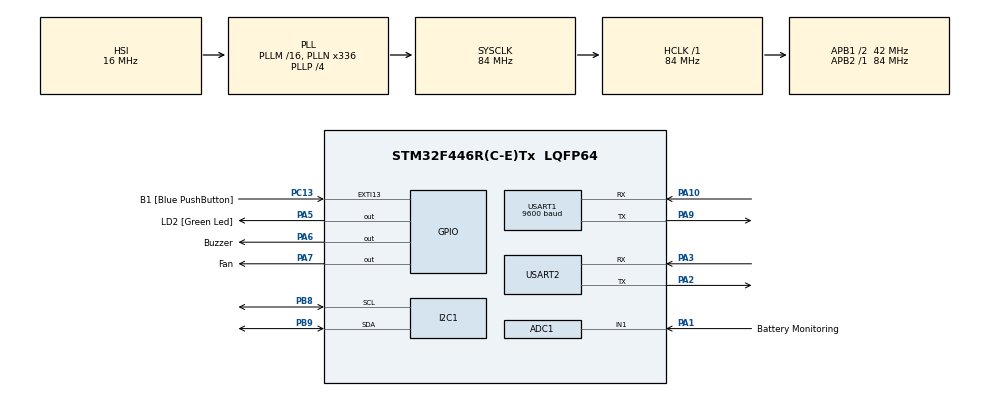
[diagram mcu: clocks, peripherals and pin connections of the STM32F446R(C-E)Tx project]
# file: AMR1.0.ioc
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ADC1.Channel-0\#ChannelRegularConversion=ADC_CHANNEL_1
ADC1.NbrOfConversionFlag=1
ADC1.Rank-0\#ChannelRegularConversion=1
ADC1.SamplingTime-0\#ChannelRegularConversion=ADC_SAMPLETIME_3CYCLES
ADC1.master=1
FREERTOS.Tasks01=defaultTask,24,256,StartDefaultTask,Default,NULL,Dynamic,NULL,NULL;NexDisplay,24,256,StartNextion,Default,NULL,Dynamic,NULL,NULL;AccelGyro,24,256,StartAccel,Default,NULL,Dynamic,NULL,NULL;VisEffect,24,256,StartVisEffect,Default,NULL,Dynamic,NULL,NULL
I2C1.I2C_Mode=I2C_Fast
Mcu.Family=STM32F4
Mcu.Name=STM32F446R(C-E)Tx
Mcu.Package=LQFP64
NVIC.ADC_IRQn=true\:5\:0\:false\:false\:true\:true\:true\:true\:true
NVIC.PriorityGroup=NVIC_PRIORITYGROUP_4
NVIC.TIM8_TRG_COM_TIM14_IRQn=true\:15\:0\:false\:false\:true\:false\:false\:true\:true
NVIC.TimeBase=TIM8_TRG_COM_TIM14_IRQn
NVIC.TimeBaseIP=TIM14
NVIC.USART1_IRQn=true\:5\:0\:false\:false\:true\:true\:true\:true\:true
NVIC.USART2_IRQn=true\:5\:0\:false\:false\:true\:true\:true\:true\:true
PA1.GPIO_Label=Battery Monitoring
PA1.Signal=ADCx_IN1
PA10.Mode=Asynchronous
PA10.Signal=USART1_RX
PA13.GPIO_Label=TMS
PA13.Mode=Serial_Wire
PA13.Signal=SYS_JTMS-SWDIO
PA14.GPIO_Label=TCK
PA14.Mode=Serial_Wire
PA14.Signal=SYS_JTCK-SWCLK
PA2.Mode=Asynchronous
PA2.Signal=USART2_TX
PA3.Mode=Asynchronous
PA3.Signal=USART2_RX
PA5.GPIO_Label=LD2 [Green Led]
PA5.Signal=GPIO_Output
PA6.GPIO_Label=Buzzer
PA6.Signal=GPIO_Output
PA7.GPIO_Label=Fan
PA7.Signal=GPIO_Output
PA9.Mode=Asynchronous
PA9.Signal=USART1_TX
PB8.Mode=I2C
PB8.Signal=I2C1_SCL
PB9.Mode=I2C
PB9.Signal=I2C1_SDA
PC13.GPIO_Label=B1 [Blue PushButton]
PC13.GPIO_ModeDefaultEXTI=GPIO_MODE_IT_FALLING
PC13.Signal=GPXTI13
ProjectManager.HeapSize=0x200
ProjectManager.StackSize=0x400
ProjectManager.TargetToolchain=STM32CubeIDE
RCC.AHBFreq_Value=84000000
RCC.APB1CLKDivider=RCC_HCLK_DIV2
RCC.APB1Freq_Value=42000000
RCC.APB1TimFreq_Value=84000000
RCC.APB2Freq_Value=84000000
RCC.APB2TimFreq_Value=84000000
RCC.CortexFreq_Value=84000000
RCC.FLatency-AdvancedSettings=FLASH_LATENCY_2
RCC.HCLKFreq_Value=84000000
RCC.HSE_VALUE=8000000
RCC.HSI_VALUE=16000000
RCC.LSE_VALUE=32768
RCC.PLLN=336
RCC.PLLP=RCC_PLLP_DIV4
RCC.SYSCLKFreq_VALUE=84000000
RCC.SYSCLKSource=RCC_SYSCLKSOURCE_PLLCLK
RCC.USBFreq_Value=168000000
RCC.VCOOutputFreq_Value=336000000
SH.ADCx_IN1.0=ADC1_IN1,IN1
USART1.BaudRate=9600
USART1.VirtualMode=VM_ASYNC
USART2.VirtualMode=VM_ASYNC
VP_FREERTOS_VS_CMSIS_V2.Mode=CMSIS_V2
VP_SYS_VS_tim14.Mode=TIM14
board=NUCLEO-F446RE

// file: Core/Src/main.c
/* USER CODE BEGIN Header */
/**
  ******************************************************************************
  * @file           : main.c
  * @brief          : Main program body
  ******************************************************************************
  * @attention
  *
  * Copyright (c) 2024 STMicroelectronics.
  * All rights reserved.
  *
  * This software is licensed under terms that can be found in the LICENSE file
  * in the root directory of this software component.
  * If no LICENSE file comes with this software, it is provided AS-IS.
  *
  ******************************************************************************
  */
/* USER CODE END Header */
#include "main.h"
#include "cmsis_os.h"

/* USER CODE BEGIN Includes */
#include <stdio.h>
#include <string.h>
#include "mpu6050.h"
#include "visEffect.h"
#include "ws2812b.h"

/* USER CODE END Includes */

ADC_HandleTypeDef hadc1;

I2C_HandleTypeDef hi2c1;

UART_HandleTypeDef huart1;
UART_HandleTypeDef huart2;

/* Definitions for defaultTask */
osThreadId_t defaultTaskHandle;
const osThreadAttr_t defaultTask_attributes = {
  .name = "defaultTask",
  .stack_size = 256 * 4,
  .priority = (osPriority_t) osPriorityNormal,
};
/* Definitions for NexDisplay */
osThreadId_t NexDisplayHandle;
const osThreadAttr_t NexDisplay_attributes = {
  .name = "NexDisplay",
  .stack_size = 256 * 4,
  .priority = (osPriority_t) osPriorityNormal,
};
/* Definitions for AccelGyro */
osThreadId_t AccelGyroHandle;
const osThreadAttr_t AccelGyro_attributes = {
  .name = "AccelGyro",
  .stack_size = 256 * 4,
  .priority = (osPriority_t) osPriorityNormal,
};
/* Definitions for VisEffect */
osThreadId_t VisEffectHandle;
const osThreadAttr_t VisEffect_attributes = {
  .name = "VisEffect",
  .stack_size = 256 * 4,
  .priority = (osPriority_t) osPriorityNormal,
};
/* USER CODE BEGIN PV */
WS2812_Struct ws2812b;

uint8_t Fan_bit = 0;

uint8_t RxData[10] = { };
uint8_t Cmd_End[3] = {0xFF,0xFF,0xFF};
uint8_t validCommands[] = {0x01, 0x02, 0x03, 0x04, 0x05, 0x06, 0x40, 0x50}; // Valid command bytes array
float voltage = 0.0;

uint8_t switchvar = 0;

MPU6050_t MPU6050;

HAL_StatusTypeDef status;
/* USER CODE END PV */

void SystemClock_Config(void);
static void MX_GPIO_Init(void);
static void MX_USART1_UART_Init(void);
static void MX_USART2_UART_Init(void);
static void MX_ADC1_Init(void);
static void MX_I2C1_Init(void);
void StartDefaultTask(void *argument);
void StartNextion(void *argument);
void StartAccel(void *argument);
void StartVisEffect(void *argument);

/* USER CODE BEGIN PFP */

//void SendInvalidMessage(UART_HandleTypeDef *huart);
//void ProcessPacket(uint8_t *packet, uint8_t length);

void HAL_UART_RxCpltCallback(UART_HandleTypeDef *huart)
{
    UBaseType_t uxSavedInterruptStatus = taskENTER_CRITICAL_FROM_ISR();
    Fan_bit = RxData[0] - 48;

    HAL_UART_Receive_IT(&huart2, RxData, 1);
    taskEXIT_CRITICAL_FROM_ISR(uxSavedInterruptStatus);
}

void NEXTION_SendString (char *ID, char *string)
{
  uint8_t charbuffer[50] = { };
  sprintf((char *)charbuffer, "%s.txt=\"%s\"", ID, string);
  HAL_UART_Transmit (&huart1,(uint8_t *) charbuffer, strlen((const char *)charbuffer), HAL_MAX_DELAY);
  HAL_UART_Transmit (&huart1, Cmd_End, 3, HAL_MAX_DELAY);
}

//void SendInvalidMessage(UART_HandleTypeDef *huart)
//{
//    char *msg = "Invalid Command\r\n";
//    HAL_UART_Transmit(huart, (uint8_t*)msg, strlen(msg), HAL_MAX_DELAY);
//}
//
//
//void ProcessPacket(uint8_t *packet, uint8_t length)
//{
//    // Custom function to process the packet if all checks are passed
//    // Example: simply print the packet's contents to UART2 for verification
//    char msg[100];
//    snprintf(msg, sizeof(msg), "Valid Packet Received: ");
//    for (uint8_t i = 0; i < length; i++)
//    {
//        char byteStr[5];
//        snprintf(byteStr, sizeof(byteStr), "%02X ", packet[i]);
//        strncat(msg, byteStr, sizeof(msg) - strlen(msg) - 1);
//    }
//    strncat(msg, "\r\n", sizeof(msg) - strlen(msg) - 1);
//    HAL_UART_Transmit(&huart2, (uint8_t*)msg, strlen(msg), HAL_MAX_DELAY);
//}

/* USER CODE END PFP */

int main(void)
{

  /* MCU Configuration--------------------------------------------------------*/

  /* Reset of all peripherals, Initializes the Flash interface and the Systick. */
  HAL_Init();

  /* Configure the system clock */
  SystemClock_Config();

  /* Initialize all configured peripherals */
  MX_GPIO_Init();
  MX_USART1_UART_Init();
  MX_USART2_UART_Init();
  MX_ADC1_Init();
  MX_I2C1_Init();
  /* USER CODE BEGIN 2 */

  HAL_UART_Receive_IT(&huart2, RxData, 1);

  while (MPU6050_Init(&hi2c1) == 1);

  visInit("GRB");

  /* USER CODE END 2 */

  /* Init scheduler */
  osKernelInitialize();

  /* Create the thread(s) */
  /* creation of defaultTask */
  defaultTaskHandle = osThreadNew(StartDefaultTask, NULL, &defaultTask_attributes);

  /* creation of NexDisplay */
  NexDisplayHandle = osThreadNew(StartNextion, NULL, &NexDisplay_attributes);

  /* creation of AccelGyro */
  AccelGyroHandle = osThreadNew(StartAccel, NULL, &AccelGyro_attributes);

  /* creation of VisEffect */
  VisEffectHandle = osThreadNew(StartVisEffect, NULL, &VisEffect_attributes);

  /* Start scheduler */
  osKernelStart();

  /* We should never get here as control is now taken by the scheduler */

  /* Infinite loop */
  while (1)
  {

  }
}

void SystemClock_Config(void)
{
  RCC_OscInitTypeDef RCC_OscInitStruct = {0};
  RCC_ClkInitTypeDef RCC_ClkInitStruct = {0};

  /** Configure the main internal regulator output voltage
  */
  __HAL_RCC_PWR_CLK_ENABLE();
  __HAL_PWR_VOLTAGESCALING_CONFIG(PWR_REGULATOR_VOLTAGE_SCALE3);

  /** Initializes the RCC Oscillators according to the specified parameters
  * in the RCC_OscInitTypeDef structure.
  */
  RCC_OscInitStruct.OscillatorType = RCC_OSCILLATORTYPE_HSI;
  RCC_OscInitStruct.HSIState = RCC_HSI_ON;
  RCC_OscInitStruct.HSICalibrationValue = RCC_HSICALIBRATION_DEFAULT;
  RCC_OscInitStruct.PLL.PLLState = RCC_PLL_ON;
  RCC_OscInitStruct.PLL.PLLSource = RCC_PLLSOURCE_HSI;
  RCC_OscInitStruct.PLL.PLLM = 16;
  RCC_OscInitStruct.PLL.PLLN = 336;
  RCC_OscInitStruct.PLL.PLLP = RCC_PLLP_DIV4;
  RCC_OscInitStruct.PLL.PLLQ = 2;
  RCC_OscInitStruct.PLL.PLLR = 2;
  if (HAL_RCC_OscConfig(&RCC_OscInitStruct) != HAL_OK)
  {
    Error_Handler();
  }

  /** Initializes the CPU, AHB and APB buses clocks
  */
  RCC_ClkInitStruct.ClockType = RCC_CLOCKTYPE_HCLK|RCC_CLOCKTYPE_SYSCLK
                              |RCC_CLOCKTYPE_PCLK1|RCC_CLOCKTYPE_PCLK2;
  RCC_ClkInitStruct.SYSCLKSource = RCC_SYSCLKSOURCE_PLLCLK;
  RCC_ClkInitStruct.AHBCLKDivider = RCC_SYSCLK_DIV1;
  RCC_ClkInitStruct.APB1CLKDivider = RCC_HCLK_DIV2;
  RCC_ClkInitStruct.APB2CLKDivider = RCC_HCLK_DIV1;

  if (HAL_RCC_ClockConfig(&RCC_ClkInitStruct, FLASH_LATENCY_2) != HAL_OK)
  {
    Error_Handler();
  }
}

static void MX_ADC1_Init(void)
{

  ADC_ChannelConfTypeDef sConfig = {0};

  /** Configure the global features of the ADC (Clock, Resolution, Data Alignment and number of conversion)
  */
  hadc1.Instance = ADC1;
  hadc1.Init.ClockPrescaler = ADC_CLOCK_SYNC_PCLK_DIV4;
  hadc1.Init.Resolution = ADC_RESOLUTION_12B;
  hadc1.Init.ScanConvMode = DISABLE;
  hadc1.Init.ContinuousConvMode = DISABLE;
  hadc1.Init.DiscontinuousConvMode = DISABLE;
  hadc1.Init.ExternalTrigConvEdge = ADC_EXTERNALTRIGCONVEDGE_NONE;
  hadc1.Init.ExternalTrigConv = ADC_SOFTWARE_START;
  hadc1.Init.DataAlign = ADC_DATAALIGN_RIGHT;
  hadc1.Init.NbrOfConversion = 1;
  hadc1.Init.DMAContinuousRequests = DISABLE;
  hadc1.Init.EOCSelection = ADC_EOC_SINGLE_CONV;
  if (HAL_ADC_Init(&hadc1) != HAL_OK)
  {
    Error_Handler();
  }

  /** Configure for the selected ADC regular channel its corresponding rank in the sequencer and its sample time.
  */
  sConfig.Channel = ADC_CHANNEL_1;
  sConfig.Rank = 1;
  sConfig.SamplingTime = ADC_SAMPLETIME_3CYCLES;
  if (HAL_ADC_ConfigChannel(&hadc1, &sConfig) != HAL_OK)
  {
    Error_Handler();
  }

}

static void MX_I2C1_Init(void)
{

  hi2c1.Instance = I2C1;
  hi2c1.Init.ClockSpeed = 400000;
  hi2c1.Init.DutyCycle = I2C_DUTYCYCLE_2;
  hi2c1.Init.OwnAddress1 = 0;
  hi2c1.Init.AddressingMode = I2C_ADDRESSINGMODE_7BIT;
  hi2c1.Init.DualAddressMode = I2C_DUALADDRESS_DISABLE;
  hi2c1.Init.OwnAddress2 = 0;
  hi2c1.Init.GeneralCallMode = I2C_GENERALCALL_DISABLE;
  hi2c1.Init.NoStretchMode = I2C_NOSTRETCH_DISABLE;
  if (HAL_I2C_Init(&hi2c1) != HAL_OK)
  {
    Error_Handler();
  }

}

static void MX_USART1_UART_Init(void)
{

  huart1.Instance = USART1;
  huart1.Init.BaudRate = 9600;
  huart1.Init.WordLength = UART_WORDLENGTH_8B;
  huart1.Init.StopBits = UART_STOPBITS_1;
  huart1.Init.Parity = UART_PARITY_NONE;
  huart1.Init.Mode = UART_MODE_TX_RX;
  huart1.Init.HwFlowCtl = UART_HWCONTROL_NONE;
  huart1.Init.OverSampling = UART_OVERSAMPLING_16;
  if (HAL_UART_Init(&huart1) != HAL_OK)
  {
    Error_Handler();
  }

}

static void MX_USART2_UART_Init(void)
{

  huart2.Instance = USART2;
  huart2.Init.BaudRate = 115200;
  huart2.Init.WordLength = UART_WORDLENGTH_8B;
  huart2.Init.StopBits = UART_STOPBITS_1;
  huart2.Init.Parity = UART_PARITY_NONE;
  huart2.Init.Mode = UART_MODE_TX_RX;
  huart2.Init.HwFlowCtl = UART_HWCONTROL_NONE;
  huart2.Init.OverSampling = UART_OVERSAMPLING_16;
  if (HAL_UART_Init(&huart2) != HAL_OK)
  {
    Error_Handler();
  }

}

static void MX_GPIO_Init(void)
{
  GPIO_InitTypeDef GPIO_InitStruct = {0};

  /* GPIO Ports Clock Enable */
  __HAL_RCC_GPIOC_CLK_ENABLE();
  __HAL_RCC_GPIOA_CLK_ENABLE();
  __HAL_RCC_GPIOB_CLK_ENABLE();

  /*Configure GPIO pin Output Level */
  HAL_GPIO_WritePin(GPIOA, LD2_Pin|Buzzer_Pin|Fan_Pin, GPIO_PIN_RESET);

  /*Configure GPIO pin : B1_Pin */
  GPIO_InitStruct.Pin = B1_Pin;
  GPIO_InitStruct.Mode = GPIO_MODE_IT_FALLING;
  GPIO_InitStruct.Pull = GPIO_NOPULL;
  HAL_GPIO_Init(B1_GPIO_Port, &GPIO_InitStruct);

  /*Configure GPIO pins : LD2_Pin Buzzer_Pin Fan_Pin */
  GPIO_InitStruct.Pin = LD2_Pin|Buzzer_Pin|Fan_Pin;
  GPIO_InitStruct.Mode = GPIO_MODE_OUTPUT_PP;
  GPIO_InitStruct.Pull = GPIO_NOPULL;
  GPIO_InitStruct.Speed = GPIO_SPEED_FREQ_LOW;
  HAL_GPIO_Init(GPIOA, &GPIO_InitStruct);

}

void StartDefaultTask(void *argument)
{
  /* USER CODE BEGIN 5 */
  /* Infinite loop */
  for(;;)
  {
	  HAL_GPIO_TogglePin(LD2_GPIO_Port, LD2_Pin);

	  if(voltage <= 1.5)
	  {
		  HAL_GPIO_TogglePin(GPIOA, Buzzer_Pin);
	  }
	  else
	  {
		  HAL_GPIO_WritePin(GPIOA, Buzzer_Pin, GPIO_PIN_RESET);
      }

	  if(Fan_bit)
	  {
	      //Turn ON Fan
	      HAL_GPIO_WritePin(GPIOA, Fan_Pin, GPIO_PIN_SET);
	  }
	  else
	  {
	      //Turn OFF Fan
	      HAL_GPIO_WritePin(GPIOA, Fan_Pin, GPIO_PIN_RESET);
      }
      osDelay(500);
  }
  /* USER CODE END 5 */
}

void StartNextion(void *argument)
{
  /* USER CODE BEGIN StartNextion */
  /* Infinite loop */
  for(;;)
  {
	      switchvar++;
	      switch(switchvar)
	      {
	          case 1:
	              NEXTION_SendString("t0", "12:00");
	              break;
	          case 2:
	              if(Fan_bit)
	              {
	                  NEXTION_SendString("t1", "Fan ON");
	              }
	              else
	              {
	                  NEXTION_SendString("t1", "Fan OFF");
	              }
	              break;
	          case 3:
	              NEXTION_SendString("t2", "AMR@123");
	              break;
	          case 4:
	              if(voltage >= 1.5)
	              {
	                  NEXTION_SendString("t4", "Battery Charged");

	              }
	              else
	              {
	                  NEXTION_SendString("t4", "Battery Low");
	              }
	              break;
	          case 5:
	              uint8_t Abuffer[50] = { };
	              sprintf((char *)Abuffer, "ACC:x=%.2f,y=%.2f,z=%.2f", MPU6050.Ax, MPU6050.Ay, MPU6050.Az);
	              NEXTION_SendString("t5",(char *) Abuffer);
	              break;
	          case 6:
	              uint8_t Gbuffer[50] = { };
	              sprintf((char *)Gbuffer, "GYRO:x=%.2f,y=%.2f,z=%.2f", MPU6050.Gx, MPU6050.Gy, MPU6050.Gz);
	              NEXTION_SendString("t6",(char *) Gbuffer);
	              break;
	          case 7:
	              break;
	          default:
	              switchvar = 0;
	              break;
         }
         osDelay(100);
  }
  /* USER CODE END StartNextion */
}

void StartAccel(void *argument)
{
  /* USER CODE BEGIN StartAccel */
  /* Infinite loop */
  for(;;)
  {
	  MPU6050_Read_All(&hi2c1, &MPU6050);
	  osDelay(100);
	  //Start ADC Conversion
	  HAL_ADC_Start(&hadc1);
	  // Poll for conversion completion
	  if (HAL_ADC_PollForConversion(&hadc1, HAL_MAX_DELAY) == HAL_OK)
	  {
	     // Get ADC value
	     uint32_t adcValue = HAL_ADC_GetValue(&hadc1);
	     // Convert ADC value to voltage
	     voltage = ((float)(adcValue * 3.3 )/ 4095.0);
	  }
	  //Stop ADC Conversion
	  HAL_ADC_Stop(&hadc1);

  }
  /* USER CODE END StartAccel */
}

void StartVisEffect(void *argument)
{
  /* USER CODE BEGIN StartVisEffect */
  /* Infinite loop */
  for(;;)
  {
	visHandle();
	osDelay(10);
  }
  /* USER CODE END StartVisEffect */
}

void HAL_TIM_PeriodElapsedCallback(TIM_HandleTypeDef *htim)
{
  /* USER CODE BEGIN Callback 0 */
//
  /* USER CODE END Callback 0 */
  if (htim->Instance == TIM14) {
    HAL_IncTick();
  }
  /* USER CODE BEGIN Callback 1 */
//
  /* USER CODE END Callback 1 */
}

void Error_Handler(void)
{
  __disable_irq();
  while (1)
  {
  }
}
